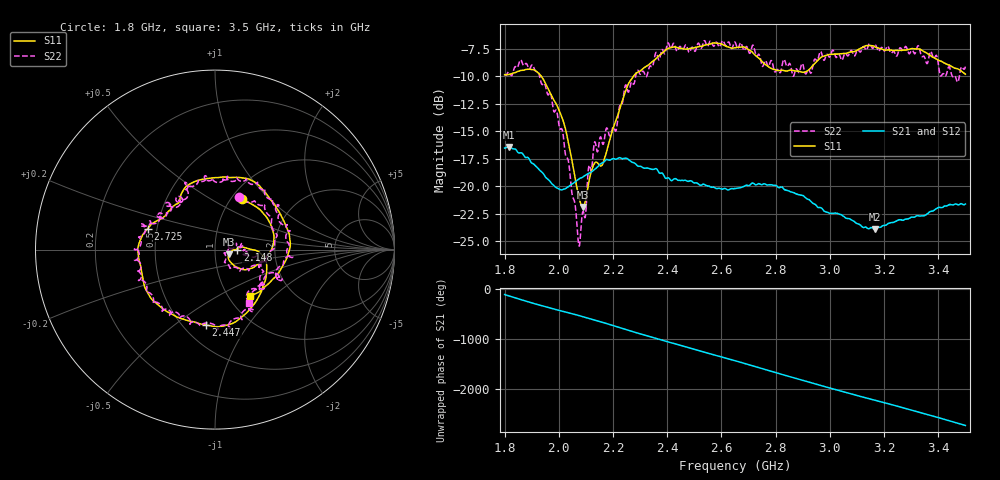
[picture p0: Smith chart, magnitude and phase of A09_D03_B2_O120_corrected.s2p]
! Created with skrf 1.9.0 (http://scikit-rf.org).
# Hz S RI R 50.0
!freq ReS11 ImS11 ReS21 ImS21 ReS12 ImS12 ReS22 ImS22
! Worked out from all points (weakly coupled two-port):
!   1601 points, 1.8 GHz to 3.5 GHz, reference 50 ohm
!   highest |S21| = -16.43 dB at 1.816 GHz (marker M1); lowest = -23.9 dB at 3.165 GHz (marker M2)
!   lowest |S11| = -21.9 dB at 2.089 GHz (marker M3), VSWR 1.18, Z = 58.1 - j3.16 ohm
!   |S11| at or under -10 dB: 1.935 GHz to 2.276 GHz (340.4 MHz wide, 16.2 % of centre)
!   |S22| runs from -25.4 to -6.8 dB; largest |S21 - S12| = 0.0027
!   S11 on the Smith chart (normalised r, x): 1.8 GHz: 1.12, +0.71; 2.148 GHz: 1.29, -0.00; 2.447 GHz: 0.64, -0.66; 2.725 GHz: 0.44, +0.12; 3.5 GHz: 1.26, -0.72
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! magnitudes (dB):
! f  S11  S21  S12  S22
! 1.8 GHz  -9.9  -16.5  -16.5  -9.8
! 1.816 GHz  -9.8  -16.4  -16.4  -9.6
! 1.903 GHz  -9.4  -17.9  -17.9  -9.0
! 1.968 GHz  -11.5  -19.6  -19.6  -11.5
! 2.015 GHz  -14.0  -20.3  -20.3  -15.1
! 2.072 GHz  -20.7  -19.4  -19.4  -25.1
! 2.084 GHz  -21.7  -19.2  -19.2  -23.1
! 2.089 GHz  -21.9  -19.1  -19.2  -22.3
! 2.112 GHz  -19.4  -18.8  -18.8  -18.1
! 2.148 GHz  -18.0  -18.1  -18.1  -16.1
! 2.209 GHz  -14.1  -17.5  -17.5  -15.0
! 2.26 GHz  -10.6  -17.6  -17.6  -11.3
! 2.367 GHz  -8.2  -18.7  -18.6  -8.4
! 2.447 GHz  -7.5  -19.5  -19.5  -7.3
! 2.65 GHz  -7.4  -20.2  -20.2  -6.9
! 2.725 GHz  -8.1  -19.9  -19.8  -7.9
! 2.934 GHz  -9.1  -21.5  -21.4  -9.5
! 3.165 GHz  -7.3  -23.9  -23.9  -7.2
! 3.217 GHz  -7.6  -23.4  -23.3  -7.4
! 3.376 GHz  -8.2  -22.3  -22.3  -7.9
! 3.468 GHz  -9.3  -21.6  -21.6  -10.4
! 3.5 GHz  -9.8  -21.6  -21.6  -9.1
